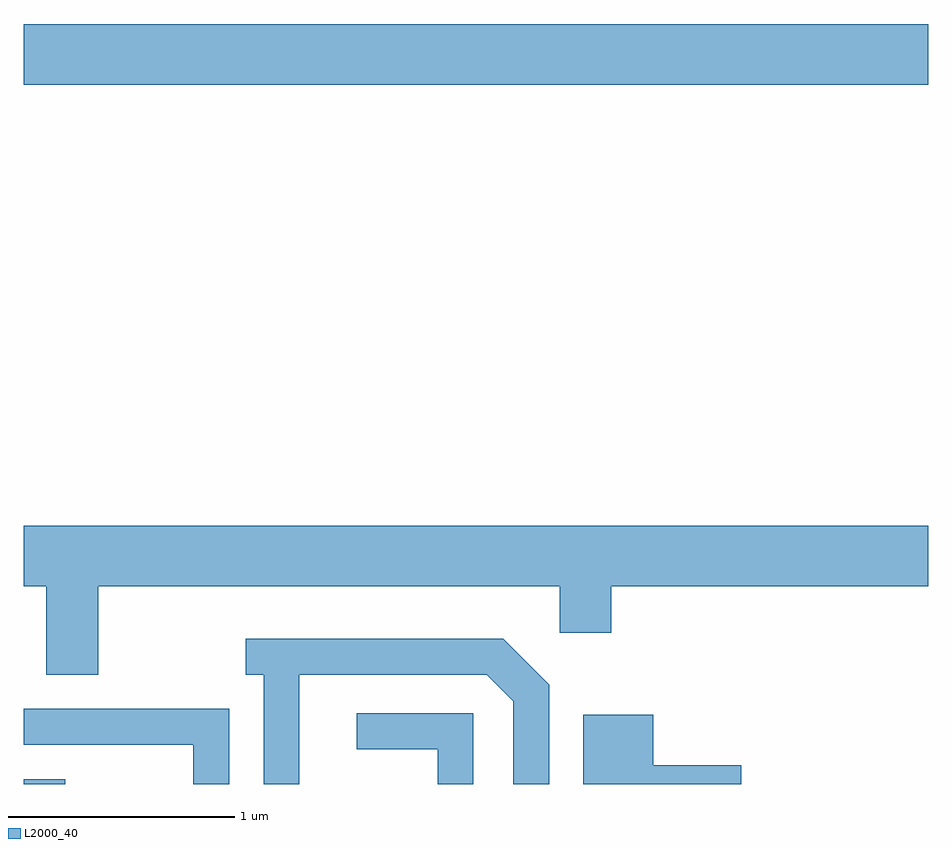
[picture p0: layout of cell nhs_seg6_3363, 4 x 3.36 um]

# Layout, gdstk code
import gdstk
lib = gdstk.Library(unit=1e-6, precision=1e-09)
def R(c, l, rs):  # rectangles x0, y0, x1, y1
    for r in rs: c.add(gdstk.rectangle(r[:2], r[2:], *l))
def P(c, l, *ps):  # polygons
    for p in ps: c.add(gdstk.Polygon(p, *l))
L2000_40 = (2000, 40)

nhs_seg6_3363 = lib.new_cell('nhs_seg6_3363')
R(nhs_seg6_3363, L2000_40, [(285.611,1660.162,285.794,1660.184), (285.611,1663.256,289.611,1663.524)])
P(nhs_seg6_3363, L2000_40, [(285.939,1661.036),(287.981,1661.036),(287.981,1660.831),(288.209,1660.831),(288.209,1661.036),(289.611,1661.036),(289.611,1661.304),(285.611,1661.304),(285.611,1661.036),(285.711,1661.036),(285.711,1660.646),(285.939,1660.646)],
  [(286.829,1660.646),(287.659,1660.646),(287.776,1660.529),(287.776,1660.162),(287.934,1660.162),(287.934,1660.602),(287.732,1660.804),(286.593,1660.804),(286.593,1660.646),(286.671,1660.646),(286.671,1660.162),(286.829,1660.162)],
  [(286.519,1660.494),(285.611,1660.494),(285.611,1660.336),(286.361,1660.336),(286.361,1660.162),(286.519,1660.162)],
  [(287.599,1660.474),(287.083,1660.474),(287.083,1660.316),(287.441,1660.316),(287.441,1660.162),(287.599,1660.162)],
  [(288.784,1660.244),(288.394,1660.244),(288.394,1660.469),(288.086,1660.469),(288.086,1660.162),(288.784,1660.162)])

lib.write_gds('nhs_seg6_3363.gds')
